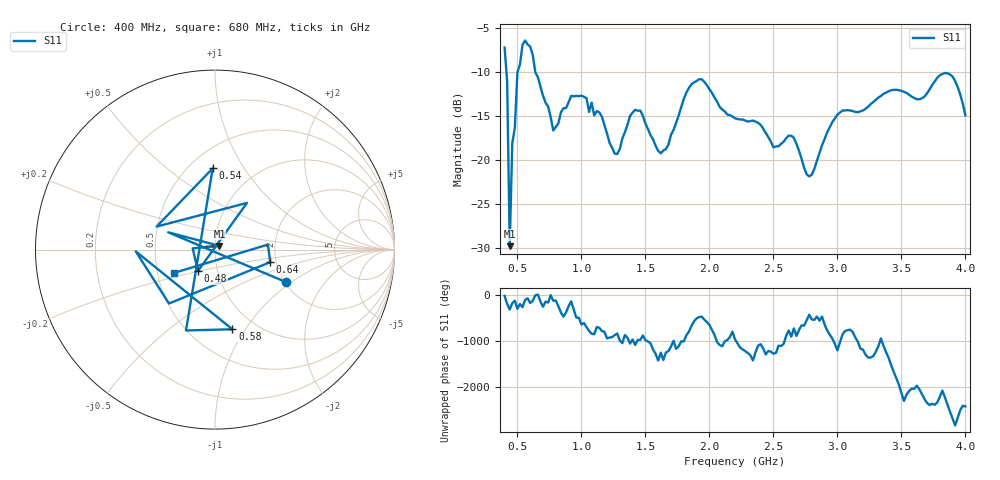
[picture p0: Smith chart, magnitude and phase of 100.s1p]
!Created with skrf (http://scikit-rf.org).
# Hz S RI R 50.0
!freq ReS11 ImS11
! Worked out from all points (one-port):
!   181 points, 400 MHz to 4 GHz, reference 50 ohm
!   lowest |S11| = -29.8 dB at 440 MHz (marker M1), VSWR 1.07, Z = 52.5 + j2.18 ohm
!   |S11| at or under -10 dB: 414.3 MHz to 500.5 MHz (86.17 MHz wide, 18.8 % of centre); 639.8 MHz to end of sweep
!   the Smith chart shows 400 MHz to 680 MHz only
!   S11 on the Smith chart (normalised r, x): 400 MHz: 2.04, -0.91; 480 MHz: 0.81, -0.20; 540 MHz: 0.65, +0.74; 580 MHz: 0.78, -0.88; 640 MHz: 1.86, -0.29; 680 MHz: 0.61, -0.17
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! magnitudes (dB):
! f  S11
! 400 MHz  -7.2
! 420 MHz  -11.1
! 440 MHz  -29.8
! 460 MHz  -18.1
! 480 MHz  -16.3
! 500 MHz  -10.0
! 540 MHz  -6.9
! 580 MHz  -6.9
! 640 MHz  -10.0
! 680 MHz  -11.7
! 780 MHz  -16.6
! 860 MHz  -14.1
! 1.04 GHz  -13.0
! 1.3 GHz  -18.8
! 1.42 GHz  -14.3
! 1.62 GHz  -19.2
! 1.76 GHz  -14.9
! 1.94 GHz  -10.8
! 2.2 GHz  -15.3
! 2.38 GHz  -15.8
! 2.5 GHz  -18.6
! 2.66 GHz  -17.5
! 2.78 GHz  -21.9
! 2.96 GHz  -15.7
! 3.1 GHz  -14.4
! 3.56 GHz  -12.6
! 3.86 GHz  -10.1
! 4 GHz  -14.9
